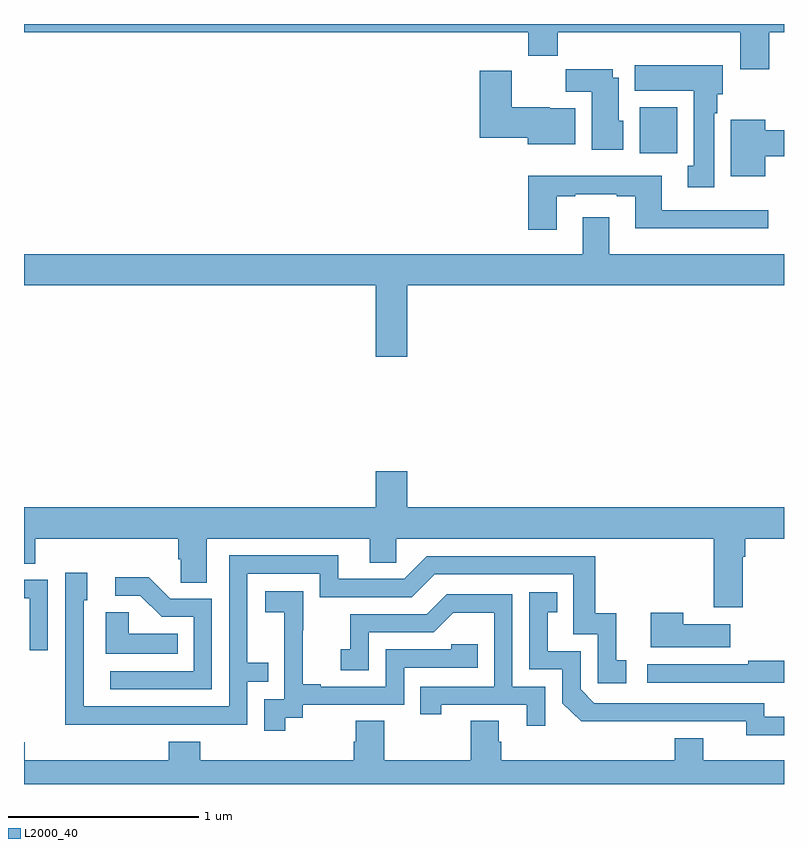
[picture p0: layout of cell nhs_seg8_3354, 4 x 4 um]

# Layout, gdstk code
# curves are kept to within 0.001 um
import gdstk
lib = gdstk.Library(unit=1e-6, precision=1e-09)
def R(c, l, rs):  # rectangles x0, y0, x1, y1
    for r in rs: c.add(gdstk.rectangle(r[:2], r[2:], *l))
def P(c, l, *ps):  # polygons
    for p in ps: c.add(gdstk.Polygon(p, *l))
L2000_40 = (2000, 40)

nhs_seg8_3354 = lib.new_cell('nhs_seg8_3354')
R(nhs_seg8_3354, L2000_40, [(322.241,1093.22,322.438,1093.462)])
P(nhs_seg8_3354, L2000_40, [(322.922,1093.856),(323,1093.856),(323,1093.9),(319,1093.9),(319,1093.856),(321.653,1093.856),(321.653,1093.732),(321.809,1093.732),(321.809,1093.856),(322.769,1093.856),(322.769,1093.662),(322.922,1093.662)],
  [(322.633,1093.43),(322.648,1093.43),(322.648,1093.53),(322.678,1093.53),(322.678,1093.684),(322.214,1093.684),(322.214,1093.55),(322.526,1093.55),(322.526,1093.154),(322.493,1093.154),(322.493,1093.041),(322.633,1093.041)],
  [(322.153,1093.392),(322.129,1093.392),(322.129,1093.618),(322.099,1093.618),(322.099,1093.663),(321.85,1093.663),(321.85,1093.544),(321.989,1093.544),(321.989,1093.238),(322.153,1093.238)],
  [(321.901,1093.456),(321.768,1093.456),(321.768,1093.462),(321.568,1093.462),(321.568,1093.654),(321.398,1093.654),(321.398,1093.301),(321.65,1093.301),(321.65,1093.268),(321.901,1093.268)],
  [(322.9,1093.204),(323,1093.204),(323,1093.34),(322.9,1093.34),(322.9,1093.396),(322.721,1093.396),(322.721,1093.1),(322.9,1093.1)],
  [(321.805,1092.993),(321.901,1092.993),(321.901,1093.005),(322.121,1093.005),(322.121,1092.993),(322.217,1092.993),(322.217,1092.824),(322.918,1092.824),(322.918,1092.921),(322.357,1092.921),(322.357,1093.102),(321.653,1093.102),(321.653,1092.816),(321.805,1092.816)],
  [(321.016,1092.524),(323,1092.524),(323,1092.688),(322.081,1092.688),(322.081,1092.883),(321.941,1092.883),(321.941,1092.688),(319,1092.688),(319,1092.524),(320.852,1092.524),(320.852,1092.15),(321.016,1092.15)],
  [(321.016,1091.545),(320.852,1091.545),(320.852,1091.356),(319,1091.356),(319,1091.059),(319.058,1091.059),(319.058,1091.192),(319.811,1091.192),(319.811,1091.083),(319.824,1091.083),(319.824,1090.96),(319.963,1090.96),(319.963,1091.192),(320.819,1091.192),(320.819,1091.065),(320.958,1091.065),(320.958,1091.192),(322.631,1091.192),(322.631,1090.83),(322.783,1090.83),(322.783,1091.096),(322.796,1091.096),(322.796,1091.192),(323,1091.192),(323,1091.356),(321.016,1091.356)],
  [(319.679,1090.212),(320.175,1090.212),(320.175,1090.437),(320.285,1090.437),(320.285,1090.538),(320.175,1090.538),(320.175,1091.007),(320.556,1091.007),(320.556,1090.884),(321.042,1090.884),(321.162,1091.004),(321.891,1091.004),(321.891,1090.689),(322.02,1090.689),(322.02,1090.431),(322.171,1090.431),(322.171,1090.551),(322.118,1090.551),(322.118,1090.798),(322.007,1090.798),(322.007,1091.1),(321.12,1091.1),(321,1090.98),(320.653,1090.98),(320.653,1091.103),(320.079,1091.103),(320.079,1090.308),(319.314,1090.308),(319.314,1090.866),(319.333,1090.866),(319.333,1091.011),(319.218,1091.011),(319.218,1090.517),(319.216,1090.517),(319.216,1090.211)],
  [(319.989,1090.875),(319.77,1090.875),(319.657,1090.988),(319.479,1090.988),(319.479,1090.89),(319.613,1090.89),(319.724,1090.779),(319.893,1090.779),(319.893,1090.494),(319.455,1090.494),(319.455,1090.398),(319.989,1090.398)],
  [(319.125,1090.974),(319,1090.974),(319,1090.878),(319.029,1090.878),(319.029,1090.605),(319.125,1090.605)],
  [(320.374,1090.249),(320.466,1090.249),(320.466,1090.317),(321,1090.317),(321,1090.512),(321.389,1090.512),(321.389,1090.635),(321.249,1090.635),(321.249,1090.608),(320.904,1090.608),(320.904,1090.413),(320.563,1090.413),(320.563,1090.426),(320.468,1090.426),(320.468,1090.709),(320.469,1090.709),(320.469,1090.915),(320.271,1090.915),(320.271,1090.805),(320.369,1090.805),(320.369,1090.577),(320.37,1090.577),(320.37,1090.347),(320.265,1090.347),(320.265,1090.179),(320.374,1090.179)],
  [(323,1090.254),(322.896,1090.254),(322.896,1090.326),(322.002,1090.326),(321.93,1090.398),(321.93,1090.599),(321.757,1090.599),(321.757,1090.803),(321.806,1090.803),(321.806,1090.909),(321.66,1090.909),(321.66,1090.503),(321.834,1090.503),(321.834,1090.326),(321.932,1090.229),(322.8,1090.23),(322.8,1090.157),(323,1090.157)],
  [(321.744,1090.413),(321.57,1090.413),(321.57,1090.899),(321.224,1090.899),(321.119,1090.794),(320.716,1090.794),(320.716,1090.609),(320.667,1090.609),(320.667,1090.5),(320.814,1090.5),(320.814,1090.698),(321.156,1090.698),(321.26,1090.802),(321.474,1090.802),(321.474,1090.413),(321.085,1090.413),(321.085,1090.266),(321.196,1090.266),(321.196,1090.317),(321.647,1090.317),(321.647,1090.206),(321.744,1090.206)],
  [(319.808,1090.69),(319.551,1090.69),(319.551,1090.805),(319.43,1090.805),(319.43,1090.586),(319.808,1090.586)],
  [(322.717,1090.741),(322.469,1090.741),(322.469,1090.801),(322.298,1090.801),(322.298,1090.619),(322.717,1090.619)],
  [(323,1090.55),(322.813,1090.55),(322.813,1090.53),(322.281,1090.53),(322.281,1090.434),(323,1090.434)],
  [(323,1090.024),(322.576,1090.024),(322.576,1090.141),(322.424,1090.141),(322.424,1090.024),(321.512,1090.024),(321.512,1090.122),(321.499,1090.122),(321.499,1090.232),(321.352,1090.232),(321.352,1090.024),(320.895,1090.024),(320.895,1090.232),(320.747,1090.232),(320.747,1090.122),(320.735,1090.122),(320.735,1090.024),(319.928,1090.024),(319.928,1090.123),(319.763,1090.123),(319.763,1090.024),(319.004,1090.024),(319.004,1090.12),(319,1090.12),(319,1089.9),(323,1089.9)])

lib.write_gds('nhs_seg8_3354.gds')
